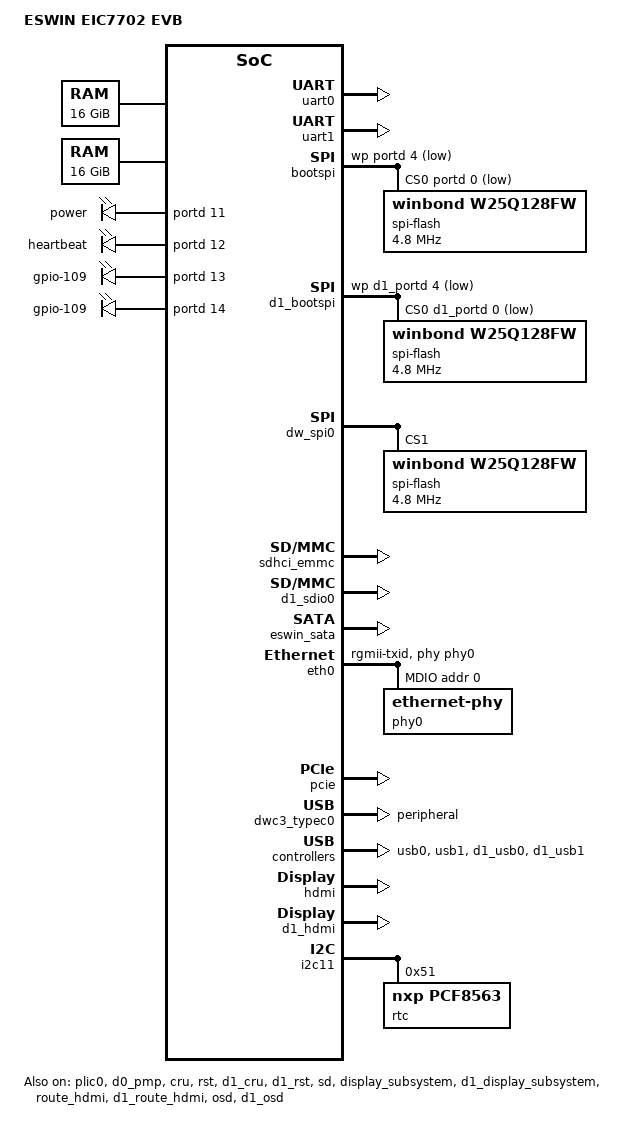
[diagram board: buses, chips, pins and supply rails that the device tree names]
// SPDX-License-Identifier: GPL-2.0
/*
 * Device Tree file for Eswin EIC7700 SoC.
 *
 * Copyright 2024, Beijing ESWIN Computing Technology Co., Ltd.. All rights reserved.
 * SPDX-License-Identifier: GPL-2.0
 *
 * This program is free software: you can redistribute it and/or modify
 * it under the terms of the GNU General Public License as published by
 * the Free Software Foundation, version 2.
 *
 * This program is distributed in the hope that it will be useful,
 * but WITHOUT ANY WARRANTY; without even the implied warranty of
 * MERCHANTABILITY or FITNESS FOR A PARTICULAR PURPOSE.  See the
 * GNU General Public License for more details.
 *
 * You should have received a copy of the GNU General Public License
 * along with this program.  If not, see <https://www.gnu.org/licenses/>.
 */

#include <dt-bindings/gpio/gpio.h>
#include <dt-bindings/soc/eswin-pmp.h>
#include "eic770x.dtsi"
#include "dt-bindings/media/eswin_mipi_dsi.h"
#include "media_bus_format.h"
/ {
	#address-cells = <2>;
	#size-cells = <2>;
	model = "ESWIN EIC7702 EVB";


	aliases {
		serial0 = &uart0;
		i2c0 = &i2c0;
		i2c1 = &i2c1;
		i2c2 = &i2c2;
		i2c3 = &i2c3;
		i2c4 = &i2c4;
		i2c5 = &i2c5;
		i2c6 = &i2c6;
		i2c7 = &i2c7;
		i2c8 = &i2c8;
		i2c9 = &i2c9;
		i2c11 = &i2c11;
		i2c12 = &i2c12;
		gpio0 = &gpio0;
		spi0 = &bootspi;
		spi1 = &dw_spi0;
		spi2 = &d1_bootspi;
	};

	chosen {
		stdout-path = "serial0";
	};

	memory@80000000 {
		device_type = "memory";
		reg = <0x0 0x80000000 0x4 0x00000000>;
		numa-node-id = <0>;
	};

	memory@2000000000 {
		device_type = "memory";
		reg = <0x20 0x00000000 0x4 0x00000000>;
		numa-node-id = <1>;
	};

	reserved-memory {
		#address-cells = <2>;
		#size-cells = <2>;
		ranges;

		display_reserved: region@E0000000 {
			reg = <0x0 0xE0000000 0x0 0x2000000>;
			no-map;
		};

		lpcpu_reserved: lpcpures@DFFE0000 {
			reg = <0x00 0xDFFE0000 0x00 0x00020000>;
			no-map;
		};

		d1_display_reserved: region@20e0000000 {
			reg = <0x20 0xE0000000 0x0 0x2000000>;
			no-map;
		};
	};

	soc {
		#address-cells = <2>;
		#size-cells = <2>;
		compatible = "SiFive,FU800-soc", "fu800-soc", "sifive-soc", "simple-bus";
		ranges;
	};
	leds {
		compatible = "gpio-leds";
		pinctrl-names = "default";
		pinctrl-0 = <&pinctrl_gpio6_default &pinctrl_gpio107_default &pinctrl_gpio108_default &pinctrl_gpio109_default>;

		gpio-107 {
			gpios = <&portd 11 GPIO_ACTIVE_HIGH>;
			label = "power";
			linux,default-trigger = "default-on";
		};

		gpio-108 {
			gpios = <&portd 12 GPIO_ACTIVE_HIGH>;
			label = "heartbeat";
			linux,default-trigger = "heartbeat";
		};

		gpio-109 {
			gpios = <&portd 13 GPIO_ACTIVE_HIGH>;
			label = "gpio-109";
			linux,default-trigger = "default-off";
		};

		gpio-110 {
			gpios = <&portd 14 GPIO_ACTIVE_HIGH>;
			label = "gpio-109";
			linux,default-trigger = "default-off";
		};
	};

};
&cpu0 {
	status = "okay";
};
&cpu1 {
	status = "okay";
};
&cpu2 {
	status = "okay";
};
&cpu3 {
	status = "okay";
};
&cpu4 {
	status = "okay";
};
&cpu5 {
	status = "okay";
};
&cpu6 {
	status = "okay";
};
&cpu7 {
	status = "okay";
};
&plic0{
	status = "okay";
};
&d0_mbox {
	status = "okay";
};
&d0_mbox_srvc {
	status = "okay";
};
&d0_mbox1 {
	status = "okay";
};
&d0_mbox_srvc1 {
	status = "okay";
};
&d1_mbox1 {
	status = "okay";
};
&d1_mbox_srvc1 {
	status = "okay";
};
&d0_pmp {
	status = "okay";
};
&uart0 {
	status = "okay";
};
&uart1 {
	status = "okay";
};
&cru {
	status = "okay";
};
&rst {
	status = "okay";
};
&d1_cru {
	status = "okay";
};
&d1_rst {
	status = "okay";
};
&bootspi {
	status = "okay";
	cs-gpios = <&portd 0 GPIO_ACTIVE_LOW>;
	wp-gpios = <&portd 4 GPIO_ACTIVE_LOW>;
	spi-flash@0 {
		reg = <0>;
		compatible = "winbond,w25q128fw",
			"jedec,spi-nor";
		spi-max-frequency = <4800000>;
	};
};

&d1_bootspi{
	status = "okay";
	cs-gpios = <&d1_portd 0 GPIO_ACTIVE_LOW>;
	wp-gpios = <&d1_portd 4 GPIO_ACTIVE_LOW>;
	spi-flash@0 {
		reg = <0>;
		compatible = "winbond,w25q128fw",
			"jedec,spi-nor";
		spi-max-frequency = <4800000>;
	};
};

&dw_spi0 {
	status = "okay";
	spi-flash@1 {
		reg = <1>;
		compatible = "winbond,w25q128fw",
			"jedec,spi-nor";
		spi-max-frequency = <4800000>;
	};
};

&sdhci_emmc {
	status = "okay";
	delay_code = <0x3c>;
	drive-impedance-ohm = <50>;
	enable-cmd-pullup;
	enable-data-pullup;
	mmc-hs200-1_8v;
	mmc-hs400-1_8v;
};

&sd {
	status = "okay";
	delay_code = <0x55>;
	drive-impedance-ohm = <33>;
	enable-cmd-pullup;
	enable-data-pullup;
};

&d1_sdhci_emmc {
	status = "disabled";
	delay_code = <0x55>;
	drive-impedance-ohm = <50>;
	enable-cmd-pullup;
	enable-data-pullup;
	mmc-hs200-1_8v;
	mmc-hs400-1_8v;
};

&d1_sdio0 {
        status = "okay";
        delay_code = <0x29>;
        drive-impedance-ohm = <33>;
        enable-cmd-pullup;
        enable-data-pullup;
        pinctrl-names = "default";
        pinctrl-0 = <&pinctrl_die1_gpio16_default>;
        rst-gpios = <&d1_porta 16 GPIO_ACTIVE_HIGH>;
};

&eswin_sata {
	status = "okay";
};

&eth0 {
	status = "okay";
	phy-mode = "rgmii-txid";
	max-speed = <1000>;
	phy-handle = <&phy0>;
	pinctrl-names = "default";
	pinctrl-0 = <&pinctrl_gpio15_default>;
	rst-gpios = <&porta 15 GPIO_ACTIVE_LOW>;
	dly-param-1000m = <0x23232323 0x5a0c6423 0x0c0c0c0c>;
	dly-param-100m = <0x50505050 0x803f8050 0x3f3f3f3f>;
	dly-param-10m = <0 0 0>;
	mdio0 {
		#address-cells = <1>;
		#size-cells = <0>;
		phy0: ethernet-phy@1 {
			reg = <0>;
		};
	};
};

&eth1 {
	status = "disabled";
	phy-mode = "rgmii-txid";
	max-speed = <1000>;
	phy-handle = <&phy1>;
	pinctrl-names = "default";
	pinctrl-0 = <&pinctrl_gpio14_default>;
	rst-gpios = <&porta 14 GPIO_ACTIVE_LOW>;
	dly-param-1000m = <0x25252525 0x5a266425 0x26262626>;
	dly-param-100m = <0x48484848 0x80588048 0x58585858>;
	dly-param-10m = <0 0 0>;
	mdio1 {
		#address-cells = <1>;
		#size-cells = <0>;
		phy1: ethernet-phy@1 {
			reg = <0>;
		};
	};
};

&pcie {
	status = "okay";
};
&display_logo {
	status = "disabled";
};
&mipi_dsi {
	status = "disabled";
	panel {
		#address-cells = <1>;
		#size-cells = <0>;
		compatible = "simple-panel-dsi";
		reg = <0>;
		dsi,format = <MIPI_DSI_FMT_RGB888>;
		bus-format = <MEDIA_BUS_FMT_RGB888_1X24>;
		dsi,lanes = <4>;
		status = "disabled";
		pinctrl-names = "default";
		pinctrl-0 = <&pinctrl_gpio7_default &pinctrl_gpio111_default>;
		backlight-gpios = <&porta 7 GPIO_ACTIVE_LOW>;
		rst-gpios = <&portd 15 GPIO_ACTIVE_LOW>;
		display-timings {
			native-mode = <&timing0>;
			timing0: timing0 {
				/*The fpga platform does not need to set the clock*/
				clock-frequency = <148500000>;
				hactive = <1080>;
				vactive = <1920>;
				hsync-len = <60>;
				hback-porch = <60>;
				hfront-porch = <60>;
				vsync-len = <8>;
				vback-porch = <8>;
				vfront-porch = <8>;
				hsync-active = <0>;
				vsync-active = <0>;
				pixelclk-active = <1>;
			};
		};
	};
};
&d1_mipi_dsi {
	status = "disabled";
};
&dwc3_typec0 {
		status = "okay";
		dr_mode = "peripheral";
		maximum-speed = "super-speed";
};
&usb0 {
	status = "okay";
	pinctrl-names = "default";
	pinctrl-0 = <&pinctrl_gpio42_default>;
	pwren-gpios = <&portb 10 GPIO_ACTIVE_HIGH>;
};

&usb1 {
	status = "okay";
	pinctrl-names = "default";
	pinctrl-0 = <&pinctrl_gpio43_default>;
	pwren-gpios = <&portb 11 GPIO_ACTIVE_HIGH>;
};

&d1_usb0 {
	status = "okay";
	pinctrl-names = "default";
	pinctrl-0 = <&pinctrl_gpio42_default>;
	pwren-gpios = <&d1_portb 10 GPIO_ACTIVE_HIGH>;
};

&d1_usb1 {
	status = "okay";
	pinctrl-names = "default";
	pinctrl-0 = <&pinctrl_gpio43_default>;
	pwren-gpios = <&d1_portb 11 GPIO_ACTIVE_HIGH>;
};

&hdmi {
	status = "okay";
};
&d1_hdmi {
	status = "okay";
};
&display_subsystem {
	status = "okay";
};
&d1_display_subsystem {
	double-screen = <1>;
	status = "okay";
};
&route_hdmi {
	status = "okay";
};
&d1_route_hdmi {
	status = "okay";
};
&route_mipi {
	status = "disabled";
};
&d1_route_mipi {
	status = "disabled";
};
&osd {
	status = "okay";
};
&d1_osd {
	status = "okay";
};
&i2c0 {
	status = "disabled";
};
&i2c2 {
	status = "disabled";
};
&i2c3 {
	status = "disabled";
};
&i2c11 {
	status = "okay";
	rtc@51 {
		compatible = "nxp,pcf8563";
		reg = <0x51>;
	};
};

/*
	gpio function unused
	group A: gpio1~6,12~15, 17~27, 29~31
	group B: gpio32~63
	group C: gpio64~93, 95
	group D: gpio96~105

	gpio0   : head phone plug/unplug detection0(I)
	gpio7   : led back light power on/off(O)
	gpio8   : dsi touch interrupt(I)
	gpio9   : pcie present(I)
	gpio10  : software define key input(I)
	gpio11  : head phone plug/unplug detection2(I)
	gpio16  : gphy1 resern(O)
	gpio28  : head phone plug/unplug detection1(I)
	gpio94  : gphy0 resern(O)
	gpio106 : pcie socket power on/off(O)
	gpio107 : tf card power on/off(O)
	gpio108 : system led0(O)
	gpio109 : system led1(O)
	gpio110 : system led2(O)
	gpio111 : mipi dsi resetn(O)
*/

&gpio0 {
	status = "okay";
};

&d1_gpio {
	status = "okay";
};

&pinctrl {
	status = "okay";
};

&d1_pinctrl {
	status = "okay";
};
